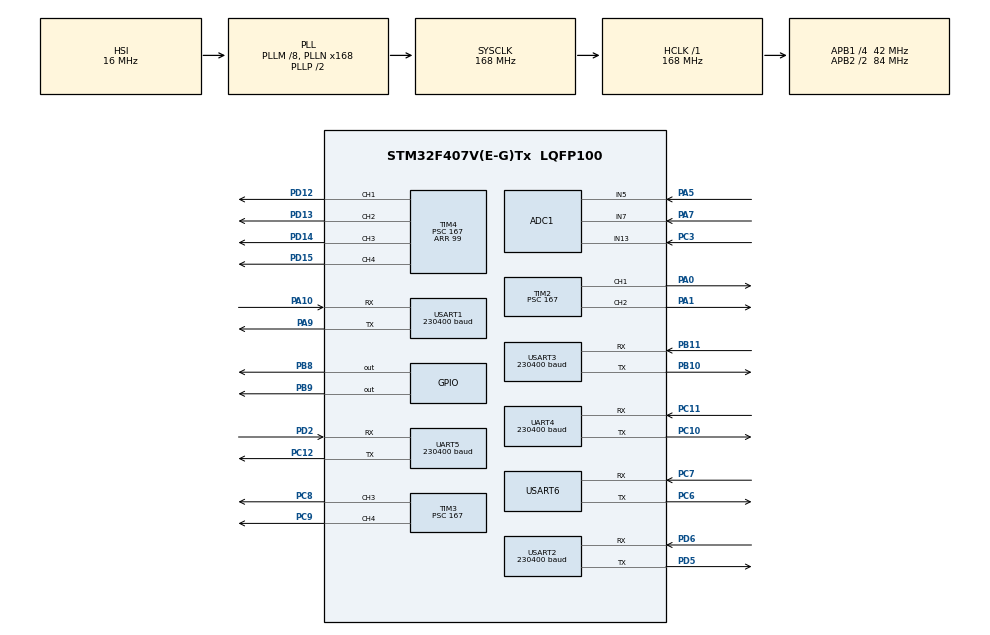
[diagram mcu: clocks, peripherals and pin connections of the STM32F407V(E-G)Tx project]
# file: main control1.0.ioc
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ADC1.Channel-0\#ChannelRegularConversion=ADC_CHANNEL_13
ADC1.Channel-1\#ChannelRegularConversion=ADC_CHANNEL_5
ADC1.Channel-2\#ChannelRegularConversion=ADC_CHANNEL_7
ADC1.ContinuousConvMode=ENABLE
ADC1.DiscontinuousConvMode=DISABLE
ADC1.NbrOfConversion=3
ADC1.NbrOfConversionFlag=1
ADC1.Rank-0\#ChannelRegularConversion=1
ADC1.Rank-1\#ChannelRegularConversion=2
ADC1.Rank-2\#ChannelRegularConversion=3
ADC1.SamplingTime-0\#ChannelRegularConversion=ADC_SAMPLETIME_56CYCLES
ADC1.SamplingTime-1\#ChannelRegularConversion=ADC_SAMPLETIME_56CYCLES
ADC1.SamplingTime-2\#ChannelRegularConversion=ADC_SAMPLETIME_3CYCLES
ADC1.ScanConvMode=ENABLE
ADC1.master=1
Dma.ADC1.0.Direction=DMA_PERIPH_TO_MEMORY
Dma.ADC1.0.FIFOMode=DMA_FIFOMODE_DISABLE
Dma.ADC1.0.Instance=DMA2_Stream0
Dma.ADC1.0.MemDataAlignment=DMA_MDATAALIGN_HALFWORD
Dma.ADC1.0.MemInc=DMA_MINC_ENABLE
Dma.ADC1.0.Mode=DMA_CIRCULAR
Dma.ADC1.0.PeriphDataAlignment=DMA_PDATAALIGN_HALFWORD
Dma.ADC1.0.PeriphInc=DMA_PINC_DISABLE
Dma.ADC1.0.Priority=DMA_PRIORITY_LOW
Dma.Request0=ADC1
Mcu.Family=STM32F4
Mcu.Name=STM32F407V(E-G)Tx
Mcu.Package=LQFP100
NVIC.DMA2_Stream0_IRQn=true\:0\:0\:false\:false\:true\:false\:true\:true
NVIC.PriorityGroup=NVIC_PRIORITYGROUP_4
NVIC.TIM1_UP_TIM10_IRQn=true\:0\:0\:false\:false\:true\:true\:true\:true
NVIC.TIM2_IRQn=true\:0\:0\:false\:false\:true\:true\:true\:true
NVIC.UART4_IRQn=true\:0\:0\:false\:false\:true\:true\:true\:true
NVIC.UART5_IRQn=true\:0\:0\:false\:false\:true\:true\:true\:true
NVIC.USART1_IRQn=true\:0\:0\:false\:false\:true\:true\:true\:true
NVIC.USART2_IRQn=true\:0\:0\:false\:false\:true\:true\:true\:true
NVIC.USART3_IRQn=true\:0\:0\:false\:false\:true\:true\:true\:true
NVIC.USART6_IRQn=true\:0\:0\:false\:false\:true\:true\:true\:true
PA0-WKUP.Signal=S_TIM2_CH1_ETR
PA1.Signal=S_TIM2_CH2
PA10.Mode=Asynchronous
PA10.Signal=USART1_RX
PA13.Mode=Serial_Wire
PA13.Signal=SYS_JTMS-SWDIO
PA14.Mode=Serial_Wire
PA14.Signal=SYS_JTCK-SWCLK
PA5.Signal=ADCx_IN5
PA7.Signal=ADCx_IN7
PA9.Mode=Asynchronous
PA9.Signal=USART1_TX
PB10.Mode=Asynchronous
PB10.Signal=USART3_TX
PB11.Mode=Asynchronous
PB11.Signal=USART3_RX
PB8.GPIO_ModeDefaultOutputPP=GPIO_MODE_OUTPUT_PP
PB8.GPIO_PuPd=GPIO_NOPULL
PB8.GPIO_Speed=GPIO_SPEED_FREQ_HIGH
PB8.Signal=GPIO_Output
PB9.GPIO_ModeDefaultOutputPP=GPIO_MODE_OUTPUT_PP
PB9.GPIO_PuPd=GPIO_NOPULL
PB9.GPIO_Speed=GPIO_SPEED_FREQ_HIGH
PB9.Signal=GPIO_Output
PC10.Mode=Asynchronous
PC10.Signal=UART4_TX
PC11.Mode=Asynchronous
PC11.Signal=UART4_RX
PC12.Mode=Asynchronous
PC12.Signal=UART5_TX
PC14-OSC32_IN.Mode=LSE-External-Oscillator
PC14-OSC32_IN.Signal=RCC_OSC32_IN
PC15-OSC32_OUT.Mode=LSE-External-Oscillator
PC15-OSC32_OUT.Signal=RCC_OSC32_OUT
PC3.Signal=ADCx_IN13
PC6.Mode=Asynchronous
PC6.Signal=USART6_TX
PC7.Mode=Asynchronous
PC7.Signal=USART6_RX
PC8.Signal=S_TIM3_CH3
PC9.Signal=S_TIM3_CH4
PD12.Signal=S_TIM4_CH1
PD13.Signal=S_TIM4_CH2
PD14.Signal=S_TIM4_CH3
PD15.Signal=S_TIM4_CH4
PD2.Mode=Asynchronous
PD2.Signal=UART5_RX
PD5.Mode=Asynchronous
PD5.Signal=USART2_TX
PD6.Mode=Asynchronous
PD6.Signal=USART2_RX
PH0-OSC_IN.Mode=HSE-External-Oscillator
PH0-OSC_IN.Signal=RCC_OSC_IN
PH1-OSC_OUT.Mode=HSE-External-Oscillator
PH1-OSC_OUT.Signal=RCC_OSC_OUT
ProjectManager.HeapSize=0x200
ProjectManager.StackSize=0x400
ProjectManager.TargetToolchain=MDK-ARM V5.32
RCC.48MHZClocksFreq_Value=84000000
RCC.AHBFreq_Value=168000000
RCC.APB1CLKDivider=RCC_HCLK_DIV4
RCC.APB1Freq_Value=42000000
RCC.APB1TimFreq_Value=84000000
RCC.APB2CLKDivider=RCC_HCLK_DIV2
RCC.APB2Freq_Value=84000000
RCC.APB2TimFreq_Value=168000000
RCC.CortexFreq_Value=168000000
RCC.HCLKFreq_Value=168000000
RCC.HSE_VALUE=25000000
RCC.HSI_VALUE=16000000
RCC.PLLM=8
RCC.PLLN=168
RCC.SYSCLKFreq_VALUE=168000000
RCC.SYSCLKSource=RCC_SYSCLKSOURCE_PLLCLK
RCC.VCOOutputFreq_Value=336000000
SH.ADCx_IN13.0=ADC1_IN13,IN13
SH.ADCx_IN5.0=ADC1_IN5,IN5
SH.ADCx_IN7.0=ADC1_IN7,IN7
SH.S_TIM2_CH1_ETR.0=TIM2_CH1,PWM Generation1 CH1
SH.S_TIM2_CH2.0=TIM2_CH2,PWM Generation2 CH2
SH.S_TIM3_CH3.0=TIM3_CH3,PWM Generation3 CH3
SH.S_TIM3_CH4.0=TIM3_CH4,PWM Generation4 CH4
SH.S_TIM4_CH1.0=TIM4_CH1,PWM Generation1 CH1
SH.S_TIM4_CH2.0=TIM4_CH2,PWM Generation2 CH2
SH.S_TIM4_CH3.0=TIM4_CH3,PWM Generation3 CH3
SH.S_TIM4_CH4.0=TIM4_CH4,PWM Generation4 CH4
TIM1.AutoReloadPreload=TIM_AUTORELOAD_PRELOAD_ENABLE
TIM1.Period=1000-1
TIM1.Prescaler=16800-1
TIM2.Channel-PWM\ Generation1\ CH1=TIM_CHANNEL_1
TIM2.Channel-PWM\ Generation2\ CH2=TIM_CHANNEL_2
TIM2.Period=99
TIM2.Prescaler=167
TIM3.Channel-PWM\ Generation3\ CH3=TIM_CHANNEL_3
TIM3.Channel-PWM\ Generation4\ CH4=TIM_CHANNEL_4
TIM3.Period=99
TIM3.Prescaler=167
TIM4.Channel-PWM\ Generation1\ CH1=TIM_CHANNEL_1
TIM4.Channel-PWM\ Generation2\ CH2=TIM_CHANNEL_2
TIM4.Channel-PWM\ Generation3\ CH3=TIM_CHANNEL_3
TIM4.Channel-PWM\ Generation4\ CH4=TIM_CHANNEL_4
TIM4.Period=99
TIM4.Prescaler=167
UART4.BaudRate=230400
UART4.VirtualMode=Asynchronous
UART5.BaudRate=230400
UART5.VirtualMode=Asynchronous
USART1.BaudRate=230400
USART1.VirtualMode=VM_ASYNC
USART2.BaudRate=230400
USART2.VirtualMode=VM_ASYNC
USART3.BaudRate=230400
USART3.VirtualMode=VM_ASYNC
USART6.VirtualMode=VM_ASYNC
VP_TIM1_VS_ClockSourceINT.Mode=Internal
board=custom

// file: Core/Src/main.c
/* USER CODE BEGIN Header */
/**
  ******************************************************************************
  * @file           : main.c
  * @brief          : Main program body
  ******************************************************************************
  * @attention
  *
  * Copyright (c) 2025 STMicroelectronics.
  * All rights reserved.
  *
  * This software is licensed under terms that can be found in the LICENSE file
  * in the root directory of this software component.
  * If no LICENSE file comes with this software, it is provided AS-IS.
  *
  ******************************************************************************
  */
/* USER CODE END Header */
#include "main.h"
#include "adc.h"
#include "dma.h"
#include "tim.h"
#include "usart.h"
#include "gpio.h"

/* USER CODE BEGIN Includes */
#include "motor.h"
#include "OLED.h"
#include "E18.h"

#include "stdio.h"
#include "string.h"//标准库和字符串，防报错
#include "serial.h"

#include "on_stage.h"
#include "under_stage.h"
//#include "judge.h"
#include "attack.h"

/* USER CODE END Includes */

/* USER CODE BEGIN PTD */
//uint16_t AD0, AD1, AD2, AD3;
//uint16_t ADC_value[4]; //变量易变，编译器不能随便优化(?)

/* USER CODE END PTD */

void SystemClock_Config(void);

/* USER CODE BEGIN 0 */
//激光参数
u16 receive_cnt1;
u8 confidence1;
u16 distance1,noise1,reftof1;
u32 peak1,intg1;
u8 dis1;
extern LidarPointTypedef Pack_sum1;

u16 receive_cnt2;
u8 confidence2;
u16 distance2,noise2,reftof2;
u32 peak2,intg2;
u8 dis2;
extern LidarPointTypedef Pack_sum2;

u16 receive_cnt3;
u8 confidence3;
u16 distance3,noise3,reftof3;
u32 peak3,intg3;
u8 dis3;
extern LidarPointTypedef Pack_sum3;

u16 receive_cnt4;
u8 confidence4;
u16 distance4,noise4,reftof4;//1
u32 peak4,intg4;
u8 dis4;
extern LidarPointTypedef Pack_sum4;

u16 receive_cnt5;
u8 confidence5;
u16 distance5,noise5,reftof5;
u32 peak5,intg5;
u8 dis5;
extern LidarPointTypedef Pack_sum5;

extern  adcValue_type adcValue ;
extern uint16_t left_laser;//?
extern uint16_t right_laser;//?

	 uint8_t j;
   uint16_t judge = 1;
//u16 receive_cnt4;
//u8 confidence4;
//u16 distance4,noise4,reftof4;
//u32 peak3,intg4;
//u8 dis4;
//extern LidarPointTypedef Pack_sum4;
/* USER CODE END 0 */

int main(void)
{

  /* MCU Configuration--------------------------------------------------------*/

  /* Reset of all peripherals, Initializes the Flash interface and the Systick. */
  HAL_Init();

  /* USER CODE BEGIN Init */
	OLED_Init();//只能放这里
  /* USER CODE END Init */

  /* Configure the system clock */
  SystemClock_Config();

  /* Initialize all configured peripherals */
  MX_GPIO_Init();
  MX_DMA_Init();
  MX_USART1_UART_Init();
  MX_USART3_UART_Init();
  MX_TIM2_Init();
  MX_UART4_Init();
  MX_UART5_Init();
  MX_USART6_UART_Init();
  MX_USART2_UART_Init();
  MX_ADC1_Init();
  MX_TIM3_Init();
  MX_TIM4_Init();
  MX_TIM1_Init();
  /* USER CODE BEGIN 2 */
	PWM_Init();
	UART_Init();

  HAL_TIM_Base_Start_IT(&htim1);

//	HAL_ADC_Start(&hadc1);
	//HAL_ADCEx_Calibration_Start(&hadc1);    //ADC校准，f4不能用

//	AD_DMA_Init();

//	OLED_ShowString(1, 1, "AD0:");
//	OLED_ShowString(2, 1, "AD1:");
//	OLED_ShowString(3, 1, "AD2:");
//	OLED_ShowString(4, 1, "AD3:");
  /* USER CODE END 2 */
	HAL_Delay(800);
	move(0,0);
	while (1){
			move(0,0);
		if(left_laser<=80&&right_laser<=80){
			break;
		}
	}
		move(-23,-23);
		HAL_Delay(600);
		move(-19,-19);
		HAL_Delay(600);
		move(-14,-20);
		HAL_Delay(600);

		move(0,0);
		HAL_Delay(300);

//		move(-8,8);
//		HAL_Delay(400);
  /* Infinite loop */
  while (1)
  {

    /* USER CODE BEGIN 3 */

		OLED_ShowNum(4,15,judge,1);
		OLED_ShowNum(2,15,j,1);
	if(judge){
		tai_shang_control();
//		move(0,0);
		}
	else{
		under_stage_control();
		}
//		tai_shang_control();
		//move(10,10);
//		move(10,10);
//		HAL_Delay(2400);
//		move(-10,-10);
//		HAL_Delay(1000);

//		tai_shang_control();

//		if(j==1){
//		tai_shang_control();
//		}
//		else{
//		move(0,0);
//				HAL_Delay(2000);
//		move(-22,-22);
//		HAL_Delay(500);
//		move(-19,-19);
//		HAL_Delay(600);
//		move(-10,-10);
//		HAL_Delay(500);

//		move(0,0);
//		HAL_Delay(100000);
//
//move(-25,-25);
//		HAL_Delay(400);
//		move(-15,-15);
//		HAL_Delay(1200);
//
//
//		move(0,0);
//				HAL_Delay(4000);
//				break;

//		}
//				getAD();
//		u8 j=direction_judge();
//		OLED_ShowNum(3,11,j,1);

//		OLED_ShowNum(1,1,distance1 ,5);
//	OLED_ShowNum(2,1,distance2 ,5);
//	OLED_ShowNum(3,1,distance3 ,5);
//	OLED_ShowNum(4,1,distance4 ,5);
//	OLED_ShowNum(1,11,distance5 ,5);

//		OLED_ShowHexNum(1, 1, distance1, 5);
//		OLED_ShowNum(1, 1, 1, 1);
//		int dt;
//		dt = direction_judge();

//
//		if(dt){
//		tai_shang_control();
//		}else{
//		under_stage_control();
//		}

//		char str[64];//存储数组
//
//		HAL_ADC_Start(&hadc1);    //开
//		HAL_ADC_PollForConversion(&hadc1, 50);   //超时报错
//
//		HAL_ADC_Start_DMA(&hadc1,(uint32_t*)ADC_value,8);//半字，4个通道，每个通道一个字长
//
//		//sprintf(str,"%f,%f,%f,%f\r\n",(ADC_value[0]*3.3)/4095,(ADC_value[1]*3.3)/4095,(ADC_value[2]*3.3)/4095,(ADC_value[3]*3.3)/4095);   //一次触发无限次采样
//	   HAL_UART_Transmit(&huart1,(uint8_t*)str,strlen(str),HAL_MAX_DELAY);//DMA转运
//		HAL_Delay(10);

//单通道
//		if(HAL_IS_BIT_SET(HAL_ADC_GetState(&hadc1), HAL_ADC_STATE_REG_EOC))
//		{
//			AD0 = HAL_ADC_GetValue(&hadc1);
//
//		OLED_ShowNum(1, 5, AD0, 4);
//		OLED_ShowNum(2, 5, AD1, 4);
//		OLED_ShowNum(3, 5, AD2, 4);
//		OLED_ShowNum(4, 5, AD3, 4);
//
//			HAL_Delay(10);
//		}
	}

  /* USER CODE END 3 */
}

void SystemClock_Config(void)
{
  RCC_OscInitTypeDef RCC_OscInitStruct = {0};
  RCC_ClkInitTypeDef RCC_ClkInitStruct = {0};

  /** Configure the main internal regulator output voltage
  */
  __HAL_RCC_PWR_CLK_ENABLE();
  __HAL_PWR_VOLTAGESCALING_CONFIG(PWR_REGULATOR_VOLTAGE_SCALE1);

  /** Initializes the RCC Oscillators according to the specified parameters
  * in the RCC_OscInitTypeDef structure.
  */
  RCC_OscInitStruct.OscillatorType = RCC_OSCILLATORTYPE_HSI;
  RCC_OscInitStruct.HSIState = RCC_HSI_ON;
  RCC_OscInitStruct.HSICalibrationValue = RCC_HSICALIBRATION_DEFAULT;
  RCC_OscInitStruct.PLL.PLLState = RCC_PLL_ON;
  RCC_OscInitStruct.PLL.PLLSource = RCC_PLLSOURCE_HSI;
  RCC_OscInitStruct.PLL.PLLM = 8;
  RCC_OscInitStruct.PLL.PLLN = 168;
  RCC_OscInitStruct.PLL.PLLP = RCC_PLLP_DIV2;
  RCC_OscInitStruct.PLL.PLLQ = 4;
  if (HAL_RCC_OscConfig(&RCC_OscInitStruct) != HAL_OK)
  {
    Error_Handler();
  }

  /** Initializes the CPU, AHB and APB buses clocks
  */
  RCC_ClkInitStruct.ClockType = RCC_CLOCKTYPE_HCLK|RCC_CLOCKTYPE_SYSCLK
                              |RCC_CLOCKTYPE_PCLK1|RCC_CLOCKTYPE_PCLK2;
  RCC_ClkInitStruct.SYSCLKSource = RCC_SYSCLKSOURCE_PLLCLK;
  RCC_ClkInitStruct.AHBCLKDivider = RCC_SYSCLK_DIV1;
  RCC_ClkInitStruct.APB1CLKDivider = RCC_HCLK_DIV4;
  RCC_ClkInitStruct.APB2CLKDivider = RCC_HCLK_DIV2;

  if (HAL_RCC_ClockConfig(&RCC_ClkInitStruct, FLASH_LATENCY_5) != HAL_OK)
  {
    Error_Handler();
  }
}

void Error_Handler(void)
{
  while(1)
  {
  }
}
